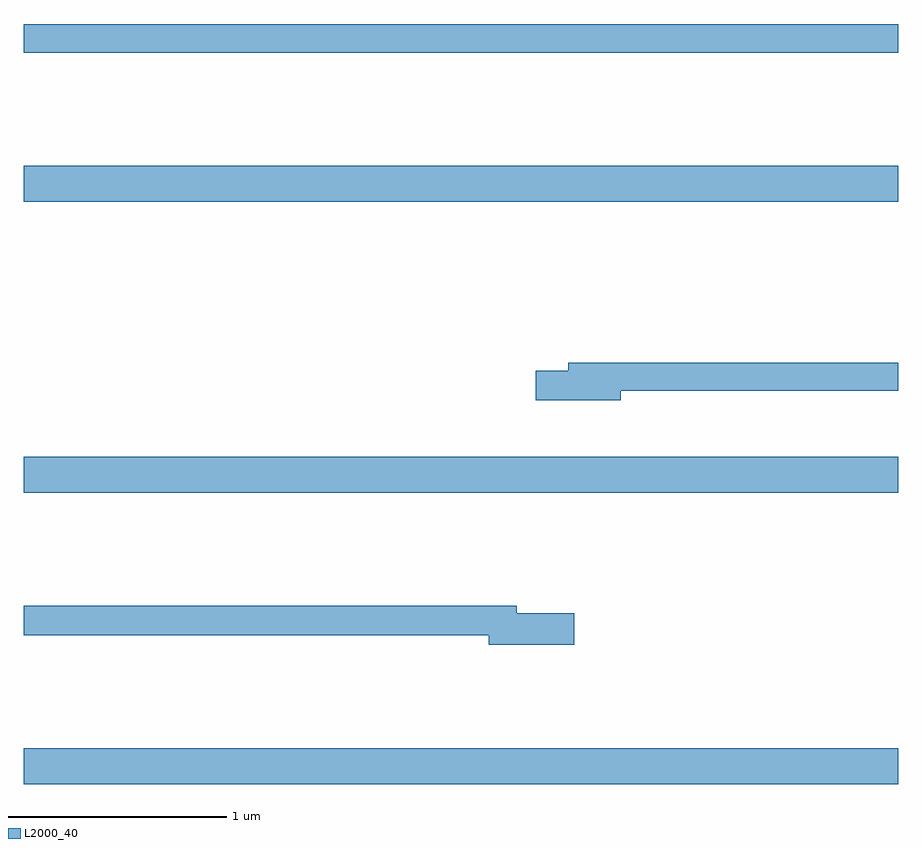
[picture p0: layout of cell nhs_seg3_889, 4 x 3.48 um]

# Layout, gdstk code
import gdstk
lib = gdstk.Library(unit=1e-6, precision=1e-09)
def R(c, l, rs):  # rectangles x0, y0, x1, y1
    for r in rs: c.add(gdstk.rectangle(r[:2], r[2:], *l))
def A(c, l, x, y, w, h, nx, ny, dx, dy):  # array of equal rectangles
    R(c, l, [(x+i*dx, y+j*dy, x+i*dx+w, y+j*dy+h) for i in range(nx) for j in range(ny)])
def P(c, l, *ps):  # polygons
    for p in ps: c.add(gdstk.Polygon(p, *l))
L2000_40 = (2000, 40)

nhs_seg3_889 = lib.new_cell('nhs_seg3_889')
A(nhs_seg3_889, L2000_40, 157, 692.924, 4, 0.164, 1, 3, 0, 1.332)
R(nhs_seg3_889, L2000_40, [(157,696.268,161,696.4)])
P(nhs_seg3_889, L2000_40, [(159.73,694.722),(161,694.722),(161,694.85),(159.491,694.85),(159.491,694.814),(159.342,694.814),(159.342,694.679),(159.73,694.679)],
  [(159.517,693.704),(159.256,693.704),(159.256,693.74),(157,693.74),(157,693.604),(159.128,693.604),(159.128,693.562),(159.517,693.562)])

lib.write_gds('nhs_seg3_889.gds')
